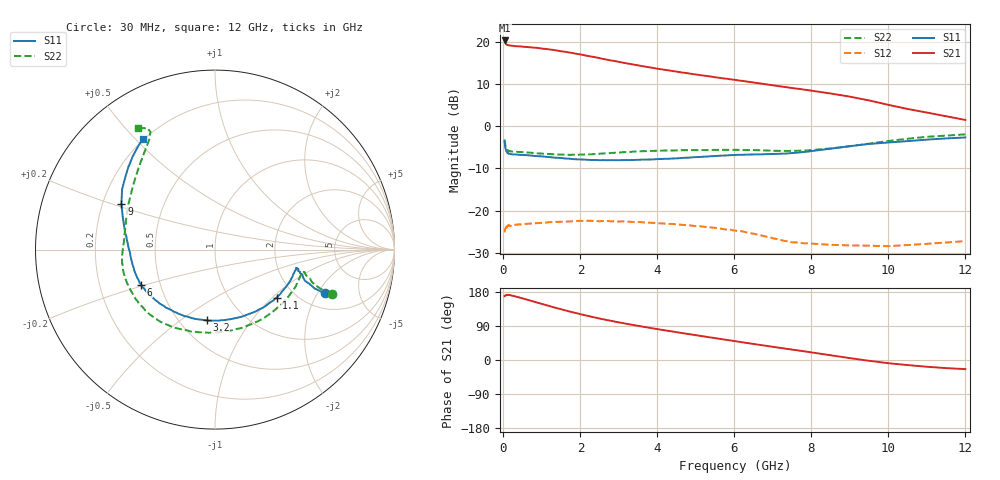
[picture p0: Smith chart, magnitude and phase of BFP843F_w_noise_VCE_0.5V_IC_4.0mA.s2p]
! Infineon Technologies  Discrete & RF Semiconductors
! BFP843F
! VCE =  0.5 V,  IC =  4.0 mA
! Common Emitter S-Parameters:  Aug 2013
# GHz  S  MA  R  50
!  f  S11  S21  S12  S22
! GHz  MAG  ANG  MAG  ANG  MAG  ANG  MAG  ANG
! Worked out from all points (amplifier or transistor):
!   103 points, 30 MHz to 12 GHz, reference 50 ohm
!   highest |S21| = 20.3 dB at 30 MHz (marker M1)
!   |S21| within 3 dB of that: start of sweep to 1.805 GHz
!   unconditionally stable (mu >= 1): 193.2 MHz to 222.4 MHz; 278.8 MHz to 363.8 MHz; 4.723 GHz to end of sweep
!   at 400 MHz: K = 1.00, MSG = 21.1 dB, |S12| = -23.2 dB
!   at 3.7 GHz: K = 0.90, MSG = 18.5 dB, |S12| = -22.8 dB
!   at 12 GHz: K = 1.77, MAG = 9.3 dB, |S12| = -27.2 dB
!   lowest NFmin = 0.87 dB at 450 MHz
!   S11 on the Smith chart (normalised r, x): 30 MHz: 2.70, -2.33; 1.1 GHz: 1.61, -1.06; 3.2 GHz: 0.67, -0.63; 6 GHz: 0.39, -0.19; 9 GHz: 0.28, +0.21; 12 GHz: 0.20, +0.52
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0.03  0.6599 -21.7  10.38 168.3  0.0553 34.4  0.6964 -20.9
0.04  0.5957 -21.3  9.943 168.5  0.06 27.0  0.6311 -20.4
0.05  0.5558 -19.8  9.62 170.6  0.0615 20.6  0.5971 -19.6
0.07  0.5156 -17.6  9.343 171.3  0.0641 17.7  0.5534 -17.0
0.15  0.4728 -13.1  9.09 171.6  0.066 9.3  0.508 -14.2
0.6  0.454 -22.2  8.685 159.7  0.0696 2.6  0.4889 -28.9
0.9  0.441 -31.7  8.459 150.7  0.0711 1.9  0.4763 -41.8
1.1  0.4346 -37.9  8.226 145.0  0.0721 1.1  0.4699 -50.5
1.3  0.4251 -44.2  8.01 139.2  0.0731 -0.1  0.4652 -59.1
1.6  0.4145 -53.6  7.633 131.1  0.0741 -1.9  0.4611 -71.7
2.1  0.4021 -68.6  6.934 118.5  0.0752 -4.8  0.4616 -91.0
2.6  0.3968 -82.0  6.254 107.3  0.0753 -8.4  0.4758 -106.6
3.2  0.3971 -96.8  5.559 95.5  0.074 -12.2  0.4942 -121.2
4.1  0.409 -117.3  4.733 79.8  0.0706 -17.5  0.5132 -137.1
5.1  0.4321 -138.0  4.038 63.9  0.0653 -22.8  0.5205 -152.6
6  0.4552 -154.7  3.55 50.0  0.058 -27.0  0.525 -166.0
6.1  0.459 -156.3  3.491 48.4  0.0574 -27.2  0.5245 -167.6
7.3  0.4734 -177.6  2.92 30.4  0.0437 -25.9  0.5101 174.3
8.5  0.5421 161.2  2.442 12.5  0.0393 -14.8  0.5453 152.1
9  0.5804 153.9  2.24 5.0  0.0387 -11.1  0.579 142.1
10.5  0.6661 136.5  1.6 -13.4  0.0391 1.6  0.7106 121.2
12  0.7358 123.2  1.186 -24.1  0.0435 13.3  0.8001 122.2
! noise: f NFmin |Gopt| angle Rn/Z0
0.45  0.87  0.19  11  0.07
0.9  0.87  0.2  21  0.08
1.5  0.95  0.2  27  0.08
1.9  1.01  0.2  42  0.08
2.4  1.04  0.19  56  0.09
3.5  1.12  0.2  83  0.14
5.5  1.25  0.19  144  0.22
10  2.02  0.4  -128  0.24
